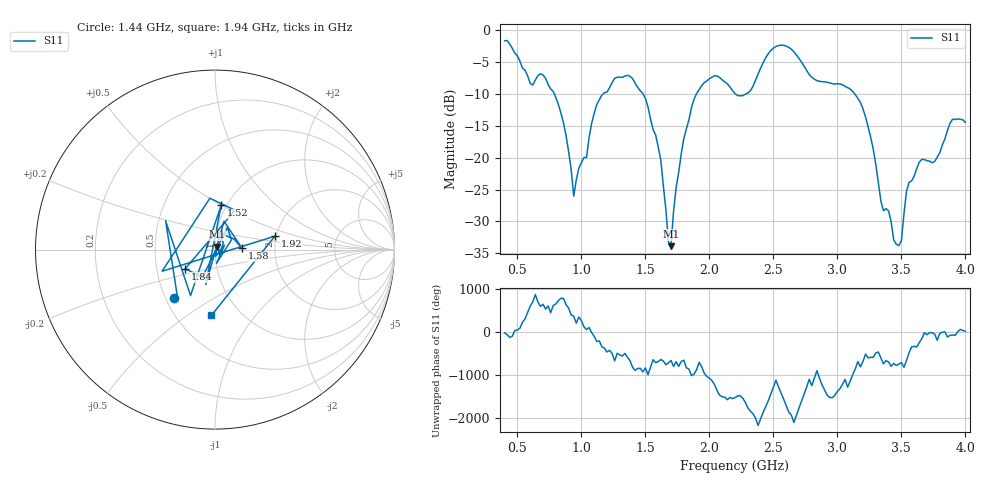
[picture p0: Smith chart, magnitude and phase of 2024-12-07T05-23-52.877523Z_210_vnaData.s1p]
!Created with skrf (http://scikit-rf.org).
# Hz S RI R 50.0
!freq ReS11 ImS11
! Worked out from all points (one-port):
!   181 points, 400 MHz to 4 GHz, reference 50 ohm
!   lowest |S11| = -33.9 dB at 1.7 GHz (marker M1), VSWR 1.04, Z = 51.2 + j1.69 ohm
!   |S11| at or under -10 dB: 788.2 MHz to 1.171 GHz (382.5 MHz wide, 39 % of centre); 1.482 GHz to 1.899 GHz (417.2 MHz wide, 24.7 % of centre); 3.135 GHz to end of sweep (the widest 3 of 4)
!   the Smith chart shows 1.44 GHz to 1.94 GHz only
!   S11 on the Smith chart (normalised r, x): 1.44 GHz: 0.55, -0.34; 1.52 GHz: 0.94, +0.50; 1.58 GHz: 1.35, +0.02; 1.84 GHz: 0.70, -0.16; 1.92 GHz: 1.96, +0.33; 1.94 GHz: 0.74, -0.62
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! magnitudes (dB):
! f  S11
! 400 MHz  -1.7
! 600 MHz  -8.4
! 720 MHz  -7.6
! 860 MHz  -14.6
! 940 MHz  -26.0
! 1.12 GHz  -11.7
! 1.3 GHz  -7.4
! 1.44 GHz  -9.0
! 1.52 GHz  -12.0
! 1.58 GHz  -16.4
! 1.7 GHz  -33.9
! 1.76 GHz  -22.3
! 1.84 GHz  -14.1
! 1.92 GHz  -9.3
! 1.94 GHz  -8.7
! 2.2 GHz  -10.0
! 2.32 GHz  -9.5
! 2.5 GHz  -2.8
! 2.66 GHz  -3.4
! 3.1 GHz  -9.2
! 3.22 GHz  -13.6
! 3.34 GHz  -26.8
! 3.46 GHz  -33.6
! 3.5 GHz  -33.0
! 3.56 GHz  -23.9
! 3.76 GHz  -20.6
! 3.9 GHz  -14.0
! 4 GHz  -14.5
